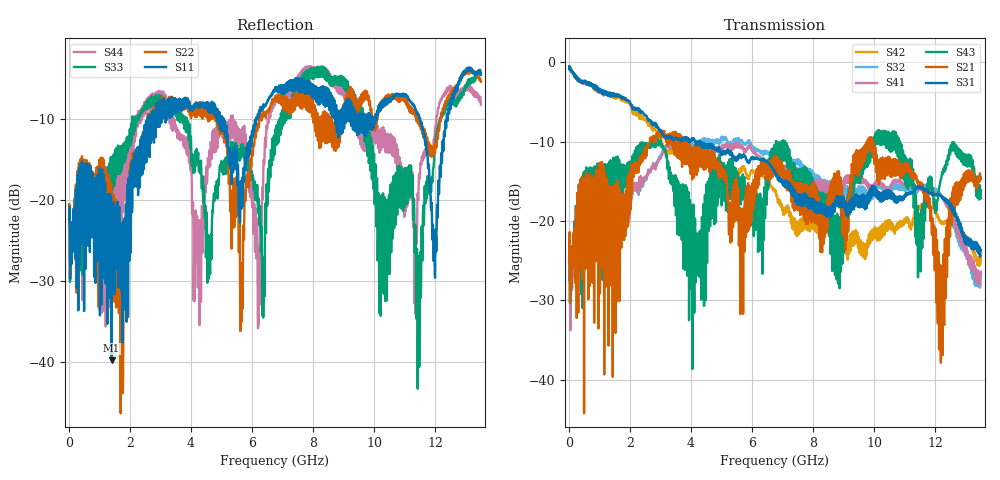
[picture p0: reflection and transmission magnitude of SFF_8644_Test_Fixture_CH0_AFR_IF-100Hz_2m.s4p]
!Keysight Technologies,N5231B,MY57181281,A.17.25.05
!Date: Friday, March 07, 2025 16:16:51
!Correction: S11(C  4-Port  )
!S12(C  4-Port  )
!S13(C  4-Port  )
!S14(C  4-Port  )
!S21(C  4-Port  )
!S22(C  4-Port  )
!S23(C  4-Port  )
!S24(C  4-Port  )
!S31(C  4-Port  )
!S32(C  4-Port  )
!S33(C  4-Port  )
!S34(C  4-Port  )
!S41(C  4-Port  )
!S42(C  4-Port  )
!S43(C  4-Port  )
!S44(C  4-Port  )
!S4P File: Measurements: <S11,S12,S13,S14>,
!<S21,S22,S23,S24>,
!<S31,S32,S33,S34>,
!<S41,S42,S43,S44>:
# Hz S  dB  R 50
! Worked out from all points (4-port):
!   1350 points, 10 MHz to 13.5 GHz, reference 50 ohm
!   strongest paths, dB at 10 MHz, 3.38 GHz, 6.76 GHz, 10.13 GHz, 13.5 GHz:
!     S31: -0.5, -9.7, -13.9, -16.6, -23.6
!     S21: -25.2, -10.5, -13.9, -12.5, -14.6
!     S43: -22.8, -15.0, -12.3, -8.7, -16.2
!     S41: -27.4, -10.7, -14.1, -15.1, -26.4
!     S32: -27.4, -10.5, -11.7, -15.7, -26.7
!     S42: -0.5, -11.4, -16.3, -21.1, -24.4
!   lowest |S11| = -39.8 dB at 1.4 GHz (marker M1), VSWR 1.02, Z = 49 + j0.261 ohm
!   |S11| at or under -10 dB: start of sweep to 2.578 GHz; 5.071 GHz to 6.14 GHz (1.069 GHz wide, 19.1 % of centre); 11.49 GHz to 12.38 GHz (891.8 MHz wide, 7.47 % of centre)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
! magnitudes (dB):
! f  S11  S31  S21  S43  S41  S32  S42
! 10 MHz  -22.5  -0.5  -25.2  -22.8  -27.4  -27.4  -0.5
! 1.4 GHz  -39.8  -3.9  -23.0  -15.9  -21.3  -20.9  -4.0
! 5.67 GHz  -18.1  -11.9  -26.5  -16.7  -10.4  -9.8  -13.3
! 6.35 GHz  -8.9  -12.4  -12.4  -20.1  -12.3  -11.2  -14.4
! 8.33 GHz  -6.0  -19.1  -19.8  -19.0  -16.3  -16.2  -21.6
! 11.48 GHz  -9.8  -15.7  -15.1  -24.9  -16.1  -16.0  -18.1
! 13.5 GHz  -4.5  -23.6  -14.6  -16.2  -26.4  -26.7  -24.4
